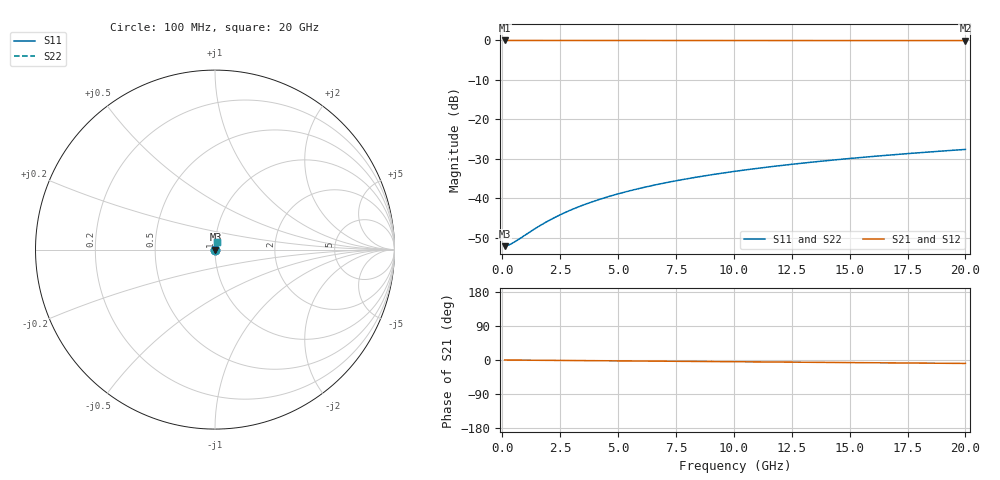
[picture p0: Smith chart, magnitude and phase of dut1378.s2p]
! Touchstone file exported from HFSS 2026.1.0
!  File:  C:/ffzhzh/LocalFiles/Ansys_Project_Files/temp_train_TSV_1378_1783196388_43440.aedt
!  Generated:  04:22:21 AM Jul  5, 2026
!  Design:  TSV
!  Project:  temp_train_TSV_1378_1783196388_43440
! Variables:
!  h_bsmrdl = 2um
!  h_ox = 20um
!  h_rdl = 5um
!  h_sub = 96.48um
!  h_tmrdl = 5um
!  h_tsv = 96.48um
!  h_via = 3um
!  l_bsmrdl = 300um
!  l_sub = 404.22um
!  l_tmrdl = 200um
!  m_sub = 200um
!  pitch = 12.76um
!  r_tsv = 2.11um
!  s_tmrdl = 10um
!  w_bsmrdl = 18um
!  w_sub = 500um
!  w_tmrdl = 12um
!  x_tsv_center1 = 206um
!  x_tsv_center2 = 524um
!  x_tsv_center3 = 736um
!  x_tsv_center4 = 1054um
!  x_tsv_center5 = 1266um
!  x_tsv_center6 = 1584um
# GHz S MA R 50.000000
! Terminal data exported
! Port[1] = TSV1_1_T1
! Port[2] = TSV1_1_T2
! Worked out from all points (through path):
!   200 points, 100 MHz to 20 GHz, reference 50 ohm
!   highest |S21| = -0.02 dB at 100 MHz (marker M1); lowest = -0.1 dB at 20 GHz (marker M2)
!   group delay of S21, straight-line fit = 1.26 ps
!   lowest |S11| = -52.1 dB at 100 MHz (marker M3), VSWR 1.00, Z = 50.2 + j0.0239 ohm
!   |S11| at or under -10 dB: start of sweep to end of sweep
!   |S22| runs from -52.1 to -27.6 dB; largest |S21 - S12| = 7e-15
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0.1  0.00248 5.5  0.9975 -0.0  0.9975 -0.0  0.00248 5.5
! Gamma 0 0 0 0
! Port Impedance 50 0 50 0
0.2  0.002521 10.8  0.9975 -0.1  0.9975 -0.1  0.002521 10.8
0.3  0.002585 15.9  0.9975 -0.1  0.9975 -0.1  0.002585 15.9
0.5  0.002772 24.9  0.9975 -0.2  0.9975 -0.2  0.002772 24.9
1.5  0.004284 51.6  0.9974 -0.7  0.9974 -0.7  0.004284 51.6
1.8  0.004832 56.0  0.9973 -0.8  0.9973 -0.8  0.004832 56.0
2.2  0.005599 60.4  0.9973 -1.0  0.9973 -1.0  0.005599 60.4
2.8  0.006798 65.1  0.9973 -1.3  0.9973 -1.3  0.006798 65.1
3.5  0.008241 68.6  0.9972 -1.6  0.9972 -1.6  0.008241 68.6
4.2  0.009708 70.9  0.9971 -1.9  0.9971 -1.9  0.009708 70.9
5  0.0114 72.7  0.997 -2.3  0.997 -2.3  0.0114 72.7
5.9  0.01331 73.9  0.9968 -2.7  0.9968 -2.7  0.01331 73.9
6.8  0.01521 74.7  0.9967 -3.1  0.9967 -3.1  0.01521 74.7
7.5  0.01668 75.1  0.9965 -3.4  0.9965 -3.4  0.01668 75.1
8.3  0.01836 75.3  0.9964 -3.8  0.9964 -3.8  0.01836 75.3
9.2  0.02024 75.5  0.9962 -4.2  0.9962 -4.2  0.02024 75.5
10.1  0.0221 75.5  0.996 -4.6  0.996 -4.6  0.0221 75.5
11.7  0.02537 75.4  0.9956 -5.3  0.9956 -5.3  0.02537 75.4
13.4  0.02879 75.1  0.9952 -6.1  0.9952 -6.1  0.02879 75.1
15  0.03196 74.7  0.9948 -6.8  0.9948 -6.8  0.03196 74.7
16.7  0.03528 74.2  0.9943 -7.6  0.9943 -7.6  0.03528 74.2
20  0.04162 73.2  0.9935 -9.0  0.9935 -9.0  0.04162 73.2
